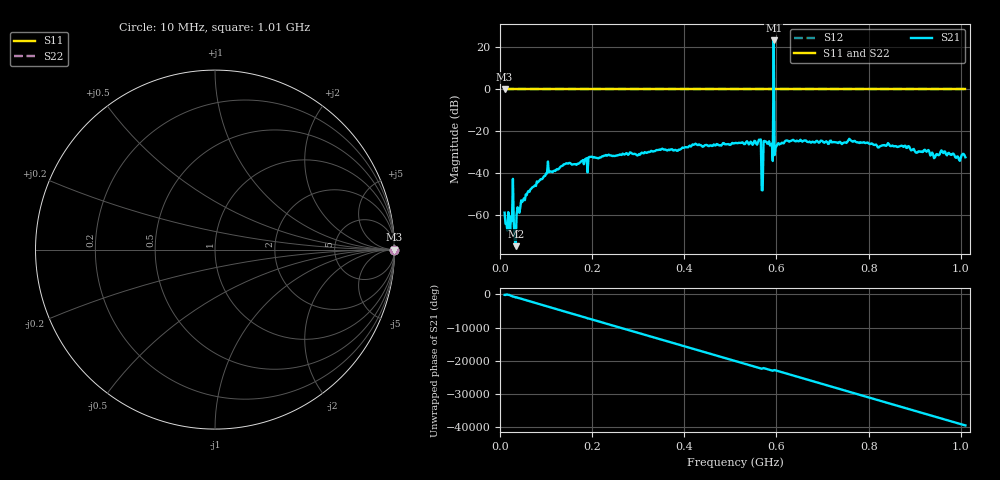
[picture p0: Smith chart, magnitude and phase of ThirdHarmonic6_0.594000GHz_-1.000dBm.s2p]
! 8/15/2025 7:19:46 PM
! C:\ANRITSUVNA\TEMP\TEMP.S2P
! CHANNEL.1
! TR.MEASUREMENT
! RAW.DATA
! RF.CORRECTION.OFF
! AVERAGING.OFF
! IF.BANDWIDTH: 5KHZ
! SWEEPTYPE:  FREQ.SWEEP(Linear)
! Reference Plane Port Info
! PORT:  PORT1  PORT2
! DISTANCE:  0  m  0  m
! TIME:  0  s  0  s
! PHASE.OFFSET:  0  deg.  0  deg.
! LOSS:  0  dB  0  dB
! REF.LOSS:  0  dB  0  dB
! REF.FREQ:  0  Hz  0  Hz
! Power Info
! POWER:  -20  dBm  -20  dBm
! EFF.POWER:  -20  dBm  -20  dBm
! SOURCE.ATTEN:  0  dB  0  dB
! TEST.ATTEN:  0  dB  0  dB
# GHZ S RI R 50.0
! FREQ.GHZ  S11RE  S11IM  S21RE  S21IM  S12RE  S12IM  S22RE  S22IM
!; PortSelection: Port_12
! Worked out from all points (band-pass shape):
!   501 points, 10 MHz to 1.01 GHz, reference 50 ohm
!   highest |S21| = 23.19 dB at 594 MHz (marker M1); lowest = -74.7 dB at 34 MHz (marker M2)
!   |S21| within 3 dB of the highest: 593.8954 MHz to 594.11 MHz (214.7 kHz wide, 0.0361 % of centre)
!   lowest |S11| = 0.0 dB at 10 MHz (marker M3)
!   |S11| at or under -10 dB: nowhere
!   |S22| runs from 0.0 to 0.0 dB; largest |S21 - S12| = 15
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0.01  1 0  -0.00065 -0.00096  1 0  1 0
0.018  1 0  -0.000817 -0.000868  1 0  1 0
0.024  1 0  0.000465 -0.000819  1 0  1 0
0.034  1 0  -0.000177 5.27e-05  1 0  1 0
0.04  1 0  0.0012 0.000706  1 0  1 0
0.048  1 0  0.000779 0.00192  1 0  1 0
0.1  1 0  -0.0026 0.00959  1 0  1 0
0.178  1 0  -0.0197 -0.00121  1 0  1 0
0.344  1 0  0.0298 -0.0201  1 0  1 0
0.51  1 0  -0.022 0.0476  1 0  1 0
0.562  1 0  -0.0629 -0.00275  1 0  1 0
0.566  1 0  0.0629 0.0103  1 0  1 0
0.572  1 0  -0.0401 0.042  1 0  1 0
0.576  1 0  0.0458 -0.0344  1 0  1 0
0.588  1 0  -0.0442 -0.0202  1 0  1 0
0.59  1 0  -0.0313 0.0398  1 0  1 0
0.594  1 0  -14.4 -1.127  1 0  1 0
0.598  1 0  -0.0375 0.014  1 0  1 0
0.6  1 0  0.00153 0.0445  1 0  1 0
0.678  1 0  -0.0563 0.00662  1 0  1 0
0.844  1 0  0.0261 -0.042  1 0  1 0
1.01  1 0  -0.00701 0.023  1 0  1 0
